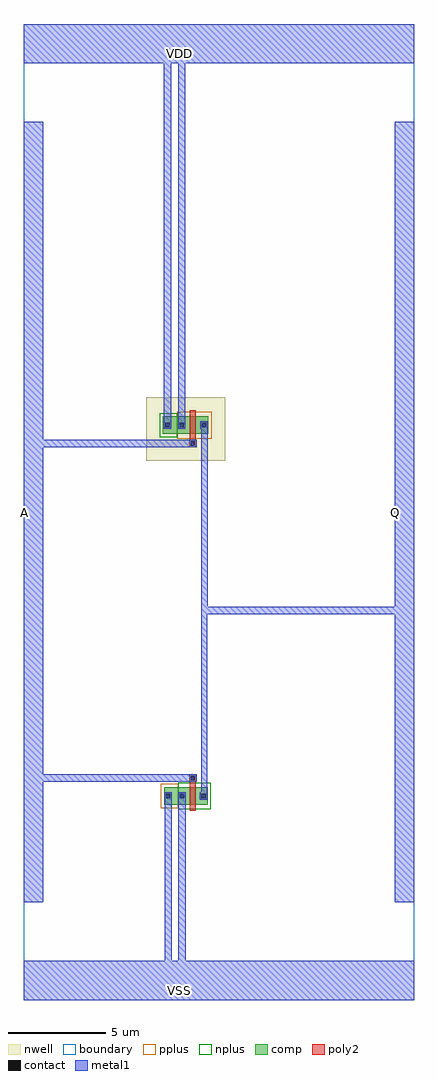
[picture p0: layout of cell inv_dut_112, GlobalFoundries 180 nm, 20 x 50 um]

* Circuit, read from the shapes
.subckt inv_dut_112 A Q VDD VSS
XM1 Q A VSS VSS nfet_03v3 w=0.9u l=0.3u
XM2 Q A VDD VDD pfet_03v3 w=0.9u l=0.3u
.ends

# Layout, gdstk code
import gdstk
lib = gdstk.Library(unit=1e-6, precision=1e-09)
def R(c, l, rs):  # rectangles x0, y0, x1, y1
    for r in rs: c.add(gdstk.rectangle(r[:2], r[2:], *l))
def P(c, l, *ps):  # polygons
    for p in ps: c.add(gdstk.Polygon(p, *l))
boundary = (0, 0)
nwell = (21, 0)
comp = (22, 0)
poly2 = (30, 0)
pplus = (31, 0)
nplus = (32, 0)
contact = (33, 0)
metal1 = (34, 0)

inv_dut_112 = lib.new_cell('inv_dut_112')
R(inv_dut_112, boundary, [(-10,-25,10,25)])
R(inv_dut_112, nwell, [(-3.73,2.63,0.32,5.89)])
R(inv_dut_112, comp, [(-2.81,-15,-0.58,-14.1), (-2.87,4,-0.54,4.9)])
P(inv_dut_112, poly2, [(-1.53,3.32),(-1.53,3.7),(-1.49,3.7),(-1.49,5.2),(-1.19,5.2),(-1.19,3.7),(-1.15,3.7),(-1.15,3.32)],
  [(-1.49,-15.3),(-1.49,-13.8),(-1.52,-13.8),(-1.52,-13.44),(-1.16,-13.44),(-1.16,-13.8),(-1.19,-13.8),(-1.19,-15.3)])
R(inv_dut_112, pplus, [(-2.98,-15.17,-2.1,-13.93), (-2.14,3.76,-0.37,5.14)])
R(inv_dut_112, nplus, [(-2.1,-15.24,-0.41,-13.86), (-3.04,3.83,-2.14,5.07)])
R(inv_dut_112, contact, [(-2.71,-14.66,-2.49,-14.44), (-2,-14.66,-1.78,-14.44), (-0.9,-14.66,-0.68,-14.44), (-1.45,-13.73,-1.23,-13.51), (-1.45,3.4,-1.23,3.62), (-2.75,4.34,-2.53,4.56), (-2.02,4.34,-1.8,4.56), (-0.88,4.34,-0.66,4.56)])
P(inv_dut_112, metal1, [(-10,-25),(-10,-23),(-2.79,-23),(-2.79,-14.36),(-2.41,-14.36),(-2.41,-23),(-2.08,-23),(-2.08,-14.36),(-1.7,-14.36),(-1.7,-23),(10,-23),(10,-25)],
  [(-10,-20),(-10,20),(-9,20),(-9,3.7),(-1.15,3.7),(-1.15,3.32),(-9,3.32),(-9,-13.43),(-1.15,-13.43),(-1.15,-13.81),(-9,-13.81),(-9,-20)],
  [(9,-20),(9,-5.245),(-0.6,-5.245),(-0.6,-14.74),(-0.98,-14.74),(-0.98,-14.36),(-0.9,-14.36),(-0.9,4.26),(-0.96,4.26),(-0.96,4.64),(-0.58,4.64),(-0.58,-4.865),(9,-4.865),(9,20),(10,20),(10,-20)],
  [(-2.83,4.26),(-2.83,23),(-10,23),(-10,25),(10,25),(10,23),(-1.72,23),(-1.72,4.26),(-2.1,4.26),(-2.1,23),(-2.45,23),(-2.45,4.26)])
inv_dut_112.add(gdstk.Label('VDD', (-2,23.5), layer=34, texttype=10))
inv_dut_112.add(gdstk.Label('VSS', (-2,-24.5), layer=34, texttype=10))
inv_dut_112.add(gdstk.Label('A', (-9.97,0), layer=34, texttype=10))
inv_dut_112.add(gdstk.Label('Q', (9.03,0), layer=34, texttype=10))

lib.write_gds('inv_dut_112.gds')
